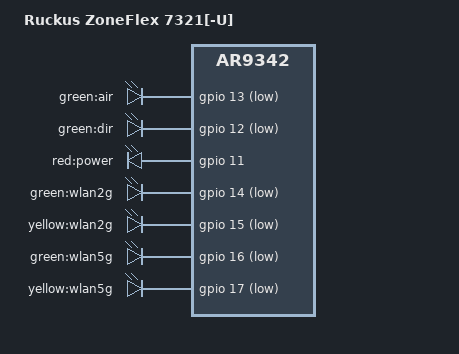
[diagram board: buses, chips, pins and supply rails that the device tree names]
// SPDX-License-Identifier: GPL-2.0-or-later OR MIT

#include "ar934x_ruckus_zf73xx.dtsi"

/ {
	model = "Ruckus ZoneFlex 7321[-U]";
	compatible = "ruckus,zf7321", "qca,ar9342";

	leds {
		air-green {
			label = "green:air";
			gpios = <&gpio 13 GPIO_ACTIVE_LOW>;
		};

		dir-green {
			label = "green:dir";
			gpios = <&gpio 12 GPIO_ACTIVE_LOW>;
		};

		power_red: power-red {
			label = "red:power";
			gpios = <&gpio 11 GPIO_ACTIVE_HIGH>;
			panic-indicator;
		};

		wlan2g-green {
			label = "green:wlan2g";
			gpios = <&gpio 14 GPIO_ACTIVE_LOW>;
			linux,default-trigger = "phy0assoc";
		};

		wlan2g-yellow {
			label = "yellow:wlan2g";
			gpios = <&gpio 15 GPIO_ACTIVE_LOW>;
			linux,default-trigger = "phy0tpt";
		};

		wlan5g-green {
			label = "green:wlan5g";
			gpios = <&gpio 16 GPIO_ACTIVE_LOW>;
			linux,default-trigger = "phy0assoc";
		};

		wlan5g-yellow {
			label = "yellow:wlan5g";
			gpios = <&gpio 17 GPIO_ACTIVE_LOW>;
			linux,default-trigger = "phy0tpt";
		};
	};
};

&board_data {
	nvmem-layout {
		compatible = "fixed-layout";
		#address-cells = <1>;
		#size-cells = <1>;

		macaddr_board_data_60: macaddr@60 {
			reg = <0x60 0x6>;
		};

		macaddr_board_data_66: macaddr@66 {
			reg = <0x66 0x6>;
		};

		cal_board_data_41000: cal@41000 {
			reg = <0x41000 0x440>;
		};
	};
};

&eth0 {
	nvmem-cells = <&macaddr_board_data_66>;
};
